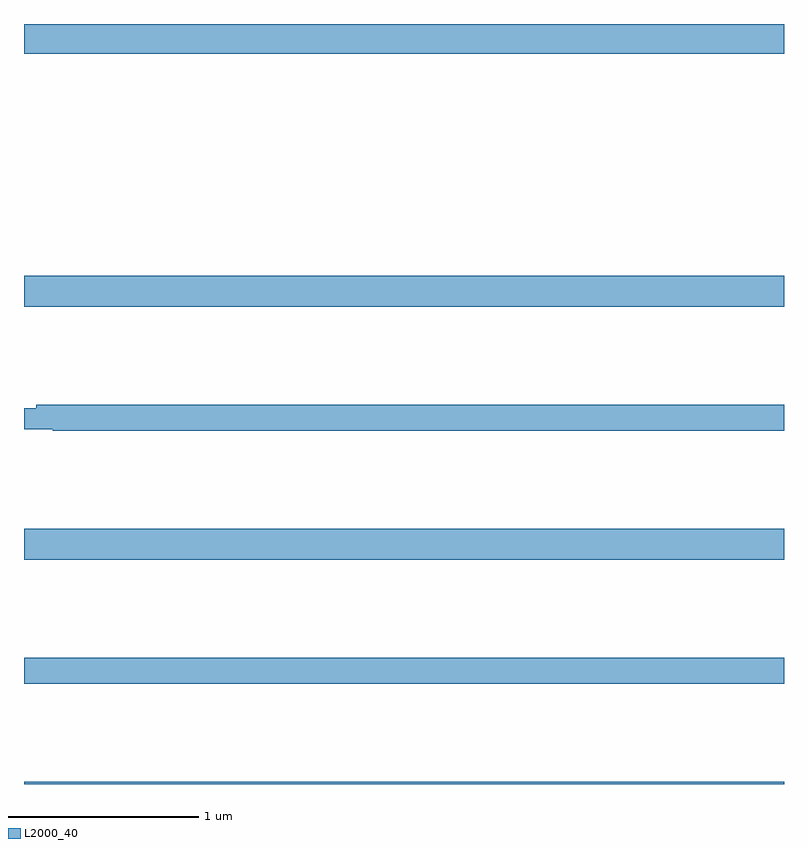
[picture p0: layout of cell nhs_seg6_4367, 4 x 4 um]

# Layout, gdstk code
import gdstk
lib = gdstk.Library(unit=1e-6, precision=1e-09)
def R(c, l, rs):  # rectangles x0, y0, x1, y1
    for r in rs: c.add(gdstk.rectangle(r[:2], r[2:], *l))
def P(c, l, *ps):  # polygons
    for p in ps: c.add(gdstk.Polygon(p, *l))
L2000_40 = (2000, 40)

nhs_seg6_4367 = lib.new_cell('nhs_seg6_4367')
R(nhs_seg6_4367, L2000_40, [(369,935.5,373,935.512), (369,936.028,373,936.164), (369,936.68,373,936.844), (369,938.012,373,938.176), (369,939.344,373,939.5)])
P(nhs_seg6_4367, L2000_40, [(373,937.496),(369.064,937.496),(369.064,937.477),(369,937.477),(369,937.368),(369.152,937.368),(369.152,937.36),(373,937.36)])

lib.write_gds('nhs_seg6_4367.gds')
